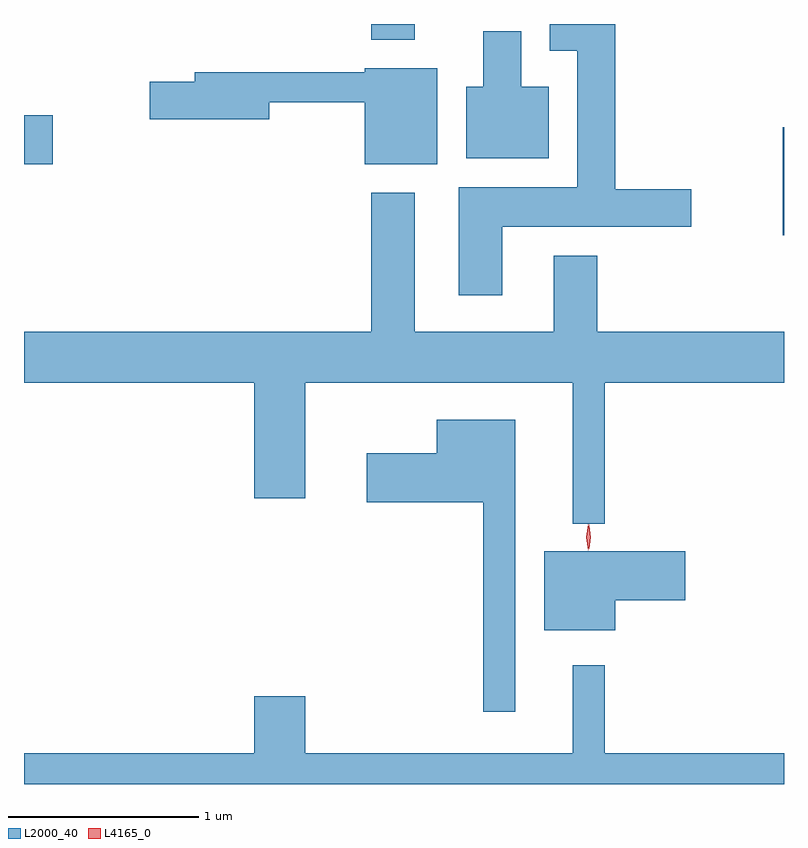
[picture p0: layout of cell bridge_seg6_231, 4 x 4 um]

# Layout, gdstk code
import gdstk
lib = gdstk.Library(unit=1e-6, precision=1e-09)
def R(c, l, rs):  # rectangles x0, y0, x1, y1
    for r in rs: c.add(gdstk.rectangle(r[:2], r[2:], *l))
def P(c, l, *ps):  # polygons
    for p in ps: c.add(gdstk.Polygon(p, *l))
L2000_40 = (2000, 40)
L4165_0 = (4165, 0)

bridge_seg6_231 = lib.new_cell('bridge_seg6_231')
R(bridge_seg6_231, L2000_40, [(1136.936,1546.371,1136.943,1546.939), (1132.943,1546.746,1133.094,1547.004), (1134.771,1547.401,1134.999,1547.483)])
P(bridge_seg6_231, L2000_40, [(1135.459,1546.416),(1136.454,1546.416),(1136.454,1546.614),(1136.054,1546.614),(1136.054,1547.483),(1135.711,1547.483),(1135.711,1547.341),(1135.856,1547.341),(1135.856,1546.624),(1135.231,1546.624),(1135.231,1546.056),(1135.459,1546.056)],
  [(1135.704,1547.154),(1135.559,1547.154),(1135.559,1547.444),(1135.361,1547.444),(1135.361,1547.154),(1135.271,1547.154),(1135.271,1546.776),(1135.704,1546.776)],
  [(1135.119,1547.249),(1134.736,1547.249),(1134.736,1547.229),(1133.841,1547.229),(1133.841,1547.179),(1133.606,1547.179),(1133.606,1546.981),(1134.234,1546.981),(1134.234,1547.071),(1134.736,1547.071),(1134.736,1546.746),(1135.119,1546.746)],
  [(1135.999,1545.596),(1136.943,1545.596),(1136.943,1545.864),(1135.959,1545.864),(1135.959,1546.264),(1135.731,1546.264),(1135.731,1545.864),(1134.999,1545.864),(1134.999,1546.594),(1134.771,1546.594),(1134.771,1545.864),(1132.943,1545.864),(1132.943,1545.596),(1134.156,1545.596),(1134.156,1544.986),(1134.424,1544.986),(1134.424,1545.596),(1135.831,1545.596),(1135.831,1544.853),(1135.999,1544.853)],
  [(1135.529,1545.399),(1135.116,1545.399),(1135.116,1545.224),(1134.746,1545.224),(1134.746,1544.966),(1135.361,1544.966),(1135.361,1543.863),(1135.529,1543.863)],
  [(1136.054,1544.451),(1136.424,1544.451),(1136.424,1544.709),(1135.681,1544.709),(1135.681,1544.291),(1136.054,1544.291)],
  [(1136.943,1543.644),(1135.999,1543.644),(1135.999,1544.108),(1135.831,1544.108),(1135.831,1543.644),(1134.424,1543.644),(1134.424,1543.944),(1134.156,1543.944),(1134.156,1543.644),(1132.943,1543.644),(1132.943,1543.483),(1136.943,1543.483)])
P(bridge_seg6_231, L4165_0, [(1135.912,1544.714),(1135.912,1544.714),(1135.903,1544.782),(1135.914,1544.85),(1135.914,1544.85),(1135.914,1544.85),(1135.923,1544.782),(1135.913,1544.714)],
  [(1135.917,1544.72),(1135.917,1544.72),(1135.907,1544.783),(1135.917,1544.846),(1135.917,1544.847),(1135.918,1544.846),(1135.927,1544.783),(1135.918,1544.72)])

lib.write_gds('bridge_seg6_231.gds')
